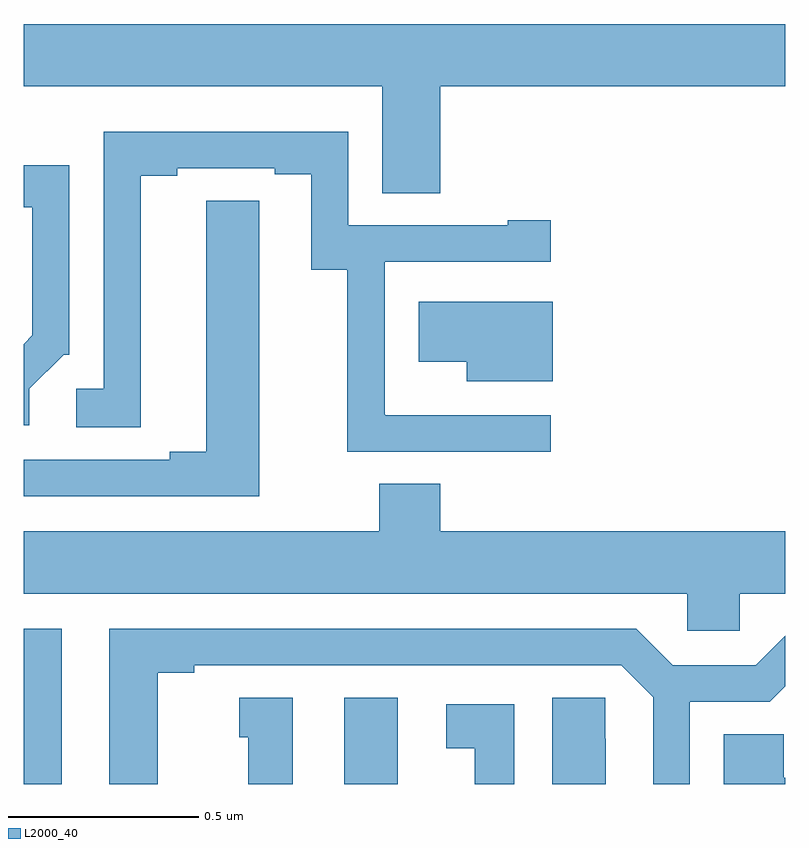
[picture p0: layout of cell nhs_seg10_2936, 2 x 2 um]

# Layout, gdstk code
import gdstk
lib = gdstk.Library(unit=1e-6, precision=1e-09)
def R(c, l, rs):  # rectangles x0, y0, x1, y1
    for r in rs: c.add(gdstk.rectangle(r[:2], r[2:], *l))
def P(c, l, *ps):  # polygons
    for p in ps: c.add(gdstk.Polygon(p, *l))
L2000_40 = (2000, 40)

nhs_seg10_2936 = lib.new_cell('nhs_seg10_2936')
R(nhs_seg10_2936, L2000_40, [(147,1282.5,147.1,1282.908), (147.842,1282.5,147.982,1282.726)])
P(nhs_seg10_2936, L2000_40, [(148.094,1284.332),(149,1284.332),(149,1284.496),(147,1284.496),(147,1284.332),(147.941,1284.332),(147.941,1284.052),(148.094,1284.052)],
  [(148.384,1283.469),(147.95,1283.469),(147.95,1283.47),(147.948,1283.47),(147.948,1283.871),(148.384,1283.871),(148.384,1283.98),(148.271,1283.98),(148.271,1283.967),(147.852,1283.967),(147.852,1284.213),(147.21,1284.213),(147.21,1283.538),(147.138,1283.538),(147.138,1283.437),(147.307,1283.437),(147.307,1284.097),(147.403,1284.097),(147.403,1284.117),(147.659,1284.117),(147.659,1284.102),(147.755,1284.102),(147.755,1283.851),(147.85,1283.851),(147.85,1283.373),(148.384,1283.373)],
  [(147.015,1283.538),(147.105,1283.628),(147.12,1283.628),(147.12,1284.125),(147,1284.125),(147,1284.015),(147.023,1284.015),(147.023,1283.678),(147,1283.655),(147,1283.442),(147.015,1283.442)],
  [(147.619,1283.924),(147.618,1283.924),(147.618,1284.032),(147.479,1284.032),(147.479,1283.372),(147.383,1283.372),(147.383,1283.352),(147,1283.352),(147,1283.256),(147.619,1283.256)],
  [(148.39,1283.767),(148.038,1283.767),(148.038,1283.609),(148.163,1283.609),(148.163,1283.558),(148.39,1283.558)],
  [(148.881,1283),(149,1283),(149,1283.164),(148.094,1283.164),(148.094,1283.288),(147.934,1283.288),(147.934,1283.164),(147,1283.164),(147,1283),(148.743,1283),(148.743,1282.902),(148.881,1282.902)],
  [(147.352,1282.792),(147.448,1282.792),(147.448,1282.812),(148.569,1282.812),(148.653,1282.728),(148.653,1282.5),(148.749,1282.5),(148.749,1282.716),(148.959,1282.716),(149,1282.757),(149,1282.889),(148.923,1282.812),(148.705,1282.812),(148.609,1282.908),(147.224,1282.908),(147.224,1282.5),(147.352,1282.5)],
  [(148.528,1282.619),(148.527,1282.619),(148.527,1282.727),(148.388,1282.727),(148.388,1282.5),(148.528,1282.5)],
  [(147.706,1282.726),(147.566,1282.726),(147.566,1282.623),(147.59,1282.623),(147.59,1282.5),(147.706,1282.5)],
  [(148.288,1282.71),(148.11,1282.71),(148.11,1282.594),(148.184,1282.594),(148.184,1282.5),(148.288,1282.5)],
  [(149,1282.516),(148.996,1282.516),(148.996,1282.631),(148.838,1282.631),(148.838,1282.5),(149,1282.5)])

lib.write_gds('nhs_seg10_2936.gds')
